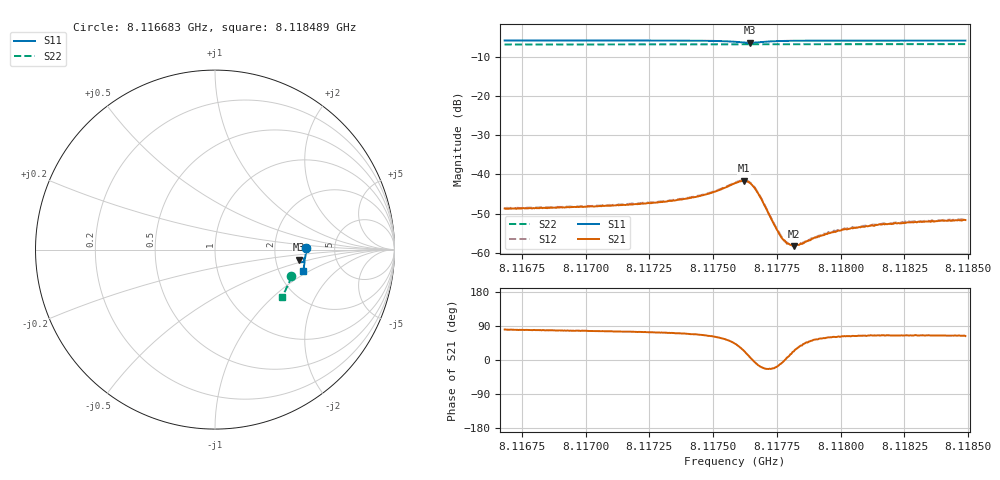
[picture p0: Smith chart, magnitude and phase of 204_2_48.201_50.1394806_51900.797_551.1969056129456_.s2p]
#  HZ  S  RI  R  50.00
! Rohde & Schwarz Vector Network Analyzer
! Rohde-Schwarz,ZNB20-2Port,1311601062101988,3.16
! Created: UTC 3/20/2024, 11:45:09 AM
! freq[Hz]  re:S11  im:S11  re:S21  im:S21  re:S12  im:S12  re:S22  im:S22
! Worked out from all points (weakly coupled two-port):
!   401 points, 8.116683 GHz to 8.118489 GHz, reference 50 ohm
!   highest |S21| = -41.61 dB at 8.117622 GHz (marker M1); lowest = -58.2 dB at 8.117816 GHz (marker M2)
!   lowest |S11| = -6.5 dB at 8.117644 GHz (marker M3), VSWR 2.80, Z = 136 - j20 ohm
!   |S11| at or under -10 dB: nowhere
!   |S22| runs from -6.9 to -6.8 dB; largest |S21 - S12| = 0.00023
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8.116683e9  0.5066 0.00711  0.000612 0.00364  0.000699 0.00368  0.4253 -0.1482
8.1169854e9  0.506 -0.0162  0.000847 0.00379  0.000948 0.00383  0.4185 -0.1682
8.1172879e9  0.5033 -0.0409  0.00132 0.00425  0.0014 0.00431  0.411 -0.1879
8.1173827e9  0.5015 -0.0497  0.00169 0.00455  0.00174 0.00461  0.4084 -0.194
8.1174549e9  0.4992 -0.057  0.00218 0.00496  0.00227 0.005  0.4061 -0.1989
8.1175226e9  0.4944 -0.065  0.00324 0.00543  0.00337 0.0055  0.404 -0.2031
8.1175858e9  0.4827 -0.0707  0.00565 0.00531  0.00583 0.00533  0.4018 -0.2071
8.1176219e9  0.472 -0.0656  0.00762 0.00331  0.00778 0.00327  0.4002 -0.2089
8.1176445e9  0.4696 -0.0568  0.00774 0.000979  0.00786 0.000928  0.3997 -0.2099
8.117658e9  0.4717 -0.0514  0.00704 -0.000299  0.0072 -0.000343  0.3994 -0.2105
8.1176761e9  0.4775 -0.047  0.0056 -0.00134  0.00571 -0.0014  0.3992 -0.2113
8.1177483e9  0.4943 -0.053  0.00193 -0.000637  0.00195 -0.000652  0.3979 -0.2162
8.1177709e9  0.4962 -0.0562  0.00152 -0.000178  0.00156 -0.000224  0.3974 -0.2177
8.1177889e9  0.4972 -0.0589  0.00131 0.000131  0.00137 9.04e-05  0.3966 -0.2187
8.117816e9  0.498 -0.0624  0.00113 0.000472  0.00121 0.000476  0.3959 -0.2206
8.1178476e9  0.4985 -0.0663  0.00103 0.000804  0.00102 0.000842  0.3947 -0.2227
8.1178883e9  0.4988 -0.0706  0.000964 0.00119  0.000968 0.00118  0.3936 -0.2255
8.1179424e9  0.4986 -0.0761  0.000914 0.00149  0.000932 0.0015  0.3919 -0.2286
8.1180101e9  0.4979 -0.0823  0.000923 0.00177  0.000931 0.00178  0.3897 -0.233
8.1181907e9  0.4956 -0.0971  0.000991 0.00214  0.00102 0.00219  0.3834 -0.244
8.1182945e9  0.4939 -0.1051  0.00103 0.00227  0.00109 0.00229  0.3798 -0.2504
8.1184886e9  0.4906 -0.1199  0.00118 0.00235  0.00119 0.0024  0.3725 -0.2619
